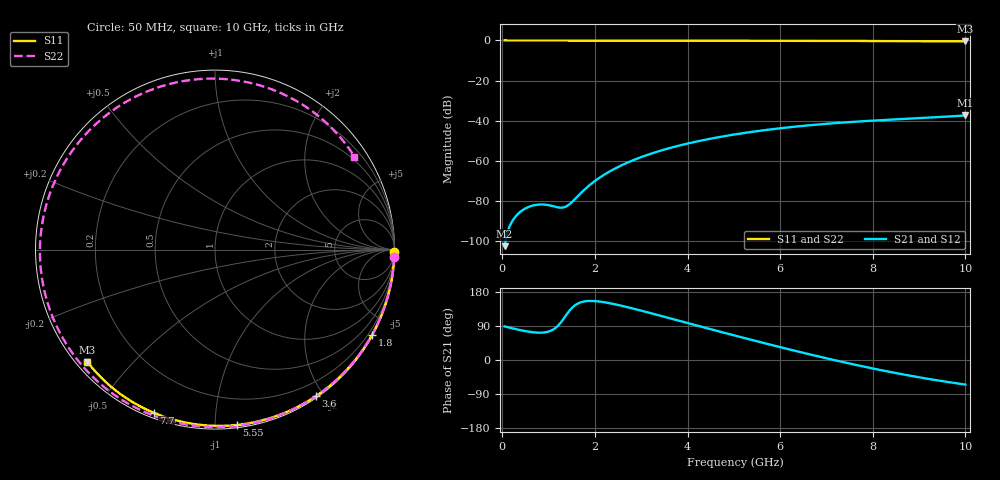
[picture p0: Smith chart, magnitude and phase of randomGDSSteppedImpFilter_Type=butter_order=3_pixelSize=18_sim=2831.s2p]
! freq	dB(S11)	phase(S11)	dB(S12)	phase(S12)
!  dB(S21)	phase(S21)	dB(S22)	phase(S22)
!S-par simulation data
#  GHz  S  DB  R 50
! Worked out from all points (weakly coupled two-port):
!   200 points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, 50 MHz to 10 GHz, reference 50 ohm
!   highest |S21| = -37.34 dB at 10 GHz (marker M1); lowest = -102.4 dB at 50 MHz (marker M2)
!   lowest |S11| = -0.5 dB at 10 GHz (marker M3), VSWR 36.93, Z = 1.55 - j18.9 ohm
!   |S11| at or under -10 dB: nowhere
!   |S22| runs from -0.6 to 0.0 dB; largest |S21 - S12| = 0
!   S11 on the Smith chart (normalised r, x): 50 MHz: open; 1.8 GHz: 0.03, -3.95; 3.6 GHz: 0.02, -1.90; 5.55 GHz: 0.02, -1.13; 7.7 GHz: 0.02, -0.69; 10 GHz: 0.03, -0.38
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0.05  -0.00 -0.8  -102.38 88.7  -102.38 88.7  -0.00 -2.3
0.35  -0.01 -5.6  -86.05 79.8  -86.05 79.8  -0.02 -15.8
0.7  -0.01 -11.2  -81.95 72.7  -81.95 72.7  -0.04 -31.2
1.1  -0.02 -17.5  -82.49 80.4  -82.49 80.4  -0.06 -48.3
1.5  -0.03 -23.8  -80.51 136.9  -80.51 136.9  -0.08 -64.8
1.75  -0.04 -27.7  -74.78 154.0  -74.78 154.0  -0.09 -74.6
1.8  -0.04 -28.4  -73.72 155.1  -73.72 155.1  -0.09 -76.5
2.1  -0.04 -33.1  -68.31 154.3  -68.31 154.3  -0.10 -87.8
2.45  -0.05 -38.4  -63.55 146.6  -63.55 146.6  -0.11 -100.4
2.9  -0.06 -45.2  -58.91 133.4  -58.91 133.4  -0.13 -115.6
3.4  -0.07 -52.6  -54.97 117.3  -54.97 117.3  -0.14 -131.5
3.6  -0.07 -55.5  -53.64 110.7  -53.64 110.7  -0.15 -137.7
4.3  -0.09 -65.6  -49.79 87.7  -49.79 87.7  -0.18 -158.2
5.05  -0.12 -76.1  -46.66 63.6  -46.66 63.6  -0.21 -179.2
5.55  -0.14 -82.9  -44.98 47.8  -44.98 47.8  -0.24 167.0
6.1  -0.16 -90.2  -43.44 30.9  -43.44 30.9  -0.27 151.9
6.7  -0.19 -98.0  -42.06 13.1  -42.06 13.1  -0.31 135.1
7.2  -0.22 -104.3  -41.12 -1.2  -41.12 -1.2  -0.35 120.8
7.7  -0.25 -110.6  -40.32 -14.7  -40.32 -14.7  -0.38 106.2
8.35  -0.30 -118.6  -39.45 -31.0  -39.45 -31.0  -0.43 86.4
9.15  -0.38 -128.4  -38.48 -48.8  -38.48 -48.8  -0.50 61.2
10  -0.47 -138.7  -37.34 -64.9  -37.34 -64.9  -0.60 33.7
